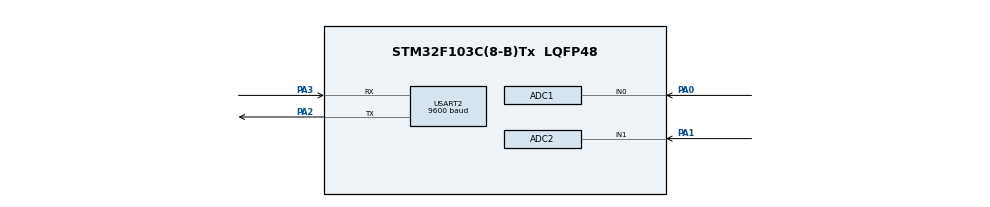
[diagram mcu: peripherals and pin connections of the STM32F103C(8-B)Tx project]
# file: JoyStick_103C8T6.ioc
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ADC1.Channel-0\#ChannelRegularConversion=ADC_CHANNEL_0
ADC1.ContinuousConvMode=DISABLE
ADC1.NbrOfConversion=1
ADC1.NbrOfConversionFlag=1
ADC1.Rank-0\#ChannelRegularConversion=1
ADC1.SamplingTime-0\#ChannelRegularConversion=ADC_SAMPLETIME_55CYCLES_5
ADC1.master=1
ADC2.Channel-4\#ChannelRegularConversion=ADC_CHANNEL_1
ADC2.NbrOfConversionFlag=1
ADC2.Rank-4\#ChannelRegularConversion=1
ADC2.SamplingTime-4\#ChannelRegularConversion=ADC_SAMPLETIME_55CYCLES_5
Mcu.Family=STM32F1
Mcu.Name=STM32F103C(8-B)Tx
Mcu.Package=LQFP48
NVIC.PriorityGroup=NVIC_PRIORITYGROUP_4
PA0-WKUP.Signal=ADCx_IN0
PA1.Signal=ADCx_IN1
PA13.Mode=Serial_Wire
PA13.Signal=SYS_JTMS-SWDIO
PA14.Mode=Serial_Wire
PA14.Signal=SYS_JTCK-SWCLK
PA2.Mode=Asynchronous
PA2.Signal=USART2_TX
PA3.Mode=Asynchronous
PA3.Signal=USART2_RX
PC14-OSC32_IN.Mode=LSE-External-Oscillator
PC14-OSC32_IN.Signal=RCC_OSC32_IN
PC15-OSC32_OUT.Mode=LSE-External-Oscillator
PC15-OSC32_OUT.Signal=RCC_OSC32_OUT
PD0-OSC_IN.Mode=HSE-External-Oscillator
PD0-OSC_IN.Signal=RCC_OSC_IN
PD1-OSC_OUT.Mode=HSE-External-Oscillator
PD1-OSC_OUT.Signal=RCC_OSC_OUT
ProjectManager.HeapSize=0x200
ProjectManager.StackSize=0x400
ProjectManager.TargetToolchain=STM32CubeIDE
RCC.APB1Freq_Value=8000000
RCC.APB2Freq_Value=8000000
SH.ADCx_IN0.0=ADC1_IN0,IN0
SH.ADCx_IN1.0=ADC2_IN1,IN1
USART2.BaudRate=9600
USART2.VirtualMode=VM_ASYNC
board=custom

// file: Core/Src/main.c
/* USER CODE BEGIN Header */
/**
 ******************************************************************************
 * @file           : main.c
 * @brief          : Main program body
 ******************************************************************************
 * @attention
 *
 * Copyright (c) 2025 STMicroelectronics.
 * All rights reserved.
 *
 * This software is licensed under terms that can be found in the LICENSE file
 * in the root directory of this software component.
 * If no LICENSE file comes with this software, it is provided AS-IS.
 *
 ******************************************************************************
 */
/* USER CODE END Header */
#include "main.h"

/* USER CODE BEGIN Includes */
#include <stdio.h>
#include <string.h>
/* USER CODE END Includes */

ADC_HandleTypeDef hadc1;
ADC_HandleTypeDef hadc2;

UART_HandleTypeDef huart2;

/* USER CODE BEGIN PV */
uint16_t joyX = 0;
uint16_t joyY = 0;
char msg[50];
/* USER CODE END PV */

void SystemClock_Config(void);
static void MX_GPIO_Init(void);
static void MX_ADC1_Init(void);
static void MX_ADC2_Init(void);
static void MX_USART2_UART_Init(void);

/* USER CODE BEGIN 0 */
uint16_t Read_ADC(ADC_HandleTypeDef *hadc) {
	HAL_ADC_Start(hadc);
	HAL_ADC_PollForConversion(hadc, 10);
	uint16_t val = HAL_ADC_GetValue(hadc);
	HAL_ADC_Stop(hadc);
	return val;
}
/* USER CODE END 0 */

int main(void) {

	/* MCU Configuration--------------------------------------------------------*/

	/* Reset of all peripherals, Initializes the Flash interface and the Systick. */
	HAL_Init();

	/* Configure the system clock */
	SystemClock_Config();

	/* Initialize all configured peripherals */
	MX_GPIO_Init();
	MX_ADC1_Init();
	MX_ADC2_Init();
	MX_USART2_UART_Init();
	/* USER CODE BEGIN 2 */
	HAL_ADCEx_Calibration_Start(&hadc1);
	HAL_ADCEx_Calibration_Start(&hadc2);
	/* USER CODE END 2 */

	/* Infinite loop */
	while (1) {

		/* USER CODE BEGIN 3 */
		joyX = Read_ADC(&hadc1);   // PA0
		HAL_Delay(2);             // Allow ADC2 time
		joyY = Read_ADC(&hadc2);   // PA1

		sprintf(msg, "X=%u  Y=%u\r\n", joyX, joyY);
		HAL_UART_Transmit(&huart2, (uint8_t*) msg, strlen(msg), 50);

		HAL_Delay(200);
	}
	/* USER CODE END 3 */
}

void SystemClock_Config(void) {
	RCC_OscInitTypeDef RCC_OscInitStruct = { 0 };
	RCC_ClkInitTypeDef RCC_ClkInitStruct = { 0 };
	RCC_PeriphCLKInitTypeDef PeriphClkInit = { 0 };

	/** Initializes the RCC Oscillators according to the specified parameters
	 * in the RCC_OscInitTypeDef structure.
	 */
	RCC_OscInitStruct.OscillatorType = RCC_OSCILLATORTYPE_HSI;
	RCC_OscInitStruct.HSIState = RCC_HSI_ON;
	RCC_OscInitStruct.HSICalibrationValue = RCC_HSICALIBRATION_DEFAULT;
	RCC_OscInitStruct.PLL.PLLState = RCC_PLL_NONE;
	if (HAL_RCC_OscConfig(&RCC_OscInitStruct) != HAL_OK) {
		Error_Handler();
	}

	/** Initializes the CPU, AHB and APB buses clocks
	 */
	RCC_ClkInitStruct.ClockType = RCC_CLOCKTYPE_HCLK | RCC_CLOCKTYPE_SYSCLK
			| RCC_CLOCKTYPE_PCLK1 | RCC_CLOCKTYPE_PCLK2;
	RCC_ClkInitStruct.SYSCLKSource = RCC_SYSCLKSOURCE_HSI;
	RCC_ClkInitStruct.AHBCLKDivider = RCC_SYSCLK_DIV1;
	RCC_ClkInitStruct.APB1CLKDivider = RCC_HCLK_DIV1;
	RCC_ClkInitStruct.APB2CLKDivider = RCC_HCLK_DIV1;

	if (HAL_RCC_ClockConfig(&RCC_ClkInitStruct, FLASH_LATENCY_0) != HAL_OK) {
		Error_Handler();
	}
	PeriphClkInit.PeriphClockSelection = RCC_PERIPHCLK_ADC;
	PeriphClkInit.AdcClockSelection = RCC_ADCPCLK2_DIV2;
	if (HAL_RCCEx_PeriphCLKConfig(&PeriphClkInit) != HAL_OK) {
		Error_Handler();
	}
}

static void MX_ADC1_Init(void) {

	ADC_ChannelConfTypeDef sConfig = { 0 };

	/** Common config
	 */
	hadc1.Instance = ADC1;
	hadc1.Init.ScanConvMode = ADC_SCAN_DISABLE;
	hadc1.Init.ContinuousConvMode = DISABLE;
	hadc1.Init.DiscontinuousConvMode = DISABLE;
	hadc1.Init.ExternalTrigConv = ADC_SOFTWARE_START;
	hadc1.Init.DataAlign = ADC_DATAALIGN_RIGHT;
	hadc1.Init.NbrOfConversion = 1;
	if (HAL_ADC_Init(&hadc1) != HAL_OK) {
		Error_Handler();
	}

	/** Configure Regular Channel
	 */
	sConfig.Channel = ADC_CHANNEL_0;
	sConfig.Rank = ADC_REGULAR_RANK_1;
	sConfig.SamplingTime = ADC_SAMPLETIME_55CYCLES_5;
	if (HAL_ADC_ConfigChannel(&hadc1, &sConfig) != HAL_OK) {
		Error_Handler();
	}

}

static void MX_ADC2_Init(void) {

	ADC_ChannelConfTypeDef sConfig = { 0 };

	/** Common config
	 */
	hadc2.Instance = ADC2;
	hadc2.Init.ScanConvMode = ADC_SCAN_DISABLE;
	hadc2.Init.ContinuousConvMode = DISABLE;
	hadc2.Init.DiscontinuousConvMode = DISABLE;
	hadc2.Init.ExternalTrigConv = ADC_SOFTWARE_START;
	hadc2.Init.DataAlign = ADC_DATAALIGN_RIGHT;
	hadc2.Init.NbrOfConversion = 1;
	if (HAL_ADC_Init(&hadc2) != HAL_OK) {
		Error_Handler();
	}

	/** Configure Regular Channel
	 */
	sConfig.Channel = ADC_CHANNEL_1;
	sConfig.Rank = ADC_REGULAR_RANK_1;
	sConfig.SamplingTime = ADC_SAMPLETIME_55CYCLES_5;
	if (HAL_ADC_ConfigChannel(&hadc2, &sConfig) != HAL_OK) {
		Error_Handler();
	}

}

static void MX_USART2_UART_Init(void) {

	huart2.Instance = USART2;
	huart2.Init.BaudRate = 9600;
	huart2.Init.WordLength = UART_WORDLENGTH_8B;
	huart2.Init.StopBits = UART_STOPBITS_1;
	huart2.Init.Parity = UART_PARITY_NONE;
	huart2.Init.Mode = UART_MODE_TX_RX;
	huart2.Init.HwFlowCtl = UART_HWCONTROL_NONE;
	huart2.Init.OverSampling = UART_OVERSAMPLING_16;
	if (HAL_UART_Init(&huart2) != HAL_OK) {
		Error_Handler();
	}

}

static void MX_GPIO_Init(void) {

	/* GPIO Ports Clock Enable */
	__HAL_RCC_GPIOC_CLK_ENABLE();
	__HAL_RCC_GPIOD_CLK_ENABLE();
	__HAL_RCC_GPIOA_CLK_ENABLE();

}

void Error_Handler(void) {
	__disable_irq();
	while (1) {
	}
}
